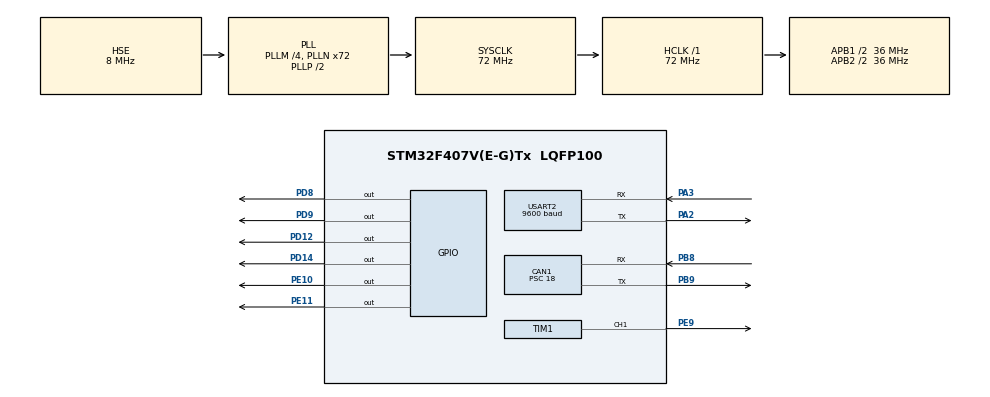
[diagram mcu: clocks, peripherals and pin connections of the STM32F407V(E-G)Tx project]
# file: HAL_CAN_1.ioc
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CAN1.BS1=CAN_BS1_2TQ
CAN1.CalculateBaudRate=500000
CAN1.CalculateTimeBit=2000
CAN1.CalculateTimeQuantum=500.0
CAN1.Prescaler=18
Mcu.Family=STM32F4
Mcu.Name=STM32F407V(E-G)Tx
Mcu.Package=LQFP100
NVIC.CAN1_RX0_IRQn=true\:0\:0\:false\:false\:true\:true\:true\:true
NVIC.PriorityGroup=NVIC_PRIORITYGROUP_0
PA2.Mode=Asynchronous
PA2.Signal=USART2_TX
PA3.Mode=Asynchronous
PA3.Signal=USART2_RX
PB8.Mode=CAN_Activate
PB8.Signal=CAN1_RX
PB9.Mode=CAN_Activate
PB9.Signal=CAN1_TX
PD12.Signal=GPIO_Output
PD14.Signal=GPIO_Output
PD8.Signal=GPIO_Output
PD9.Signal=GPIO_Output
PE10.Signal=GPIO_Output
PE11.Signal=GPIO_Output
PE9.Signal=S_TIM1_CH1
PH0-OSC_IN.Mode=HSE-External-Oscillator
PH0-OSC_IN.Signal=RCC_OSC_IN
PH1-OSC_OUT.Mode=HSE-External-Oscillator
PH1-OSC_OUT.Signal=RCC_OSC_OUT
ProjectManager.HeapSize=0x200
ProjectManager.StackSize=0x400
ProjectManager.TargetToolchain=STM32CubeIDE
RCC.48MHZClocksFreq_Value=20571428.57142857
RCC.AHBFreq_Value=72000000
RCC.APB1CLKDivider=RCC_HCLK_DIV2
RCC.APB1Freq_Value=36000000
RCC.APB1TimFreq_Value=72000000
RCC.APB2CLKDivider=RCC_HCLK_DIV2
RCC.APB2Freq_Value=36000000
RCC.APB2TimFreq_Value=72000000
RCC.CortexFreq_Value=72000000
RCC.HCLKFreq_Value=72000000
RCC.HSE_VALUE=8000000
RCC.HSI_VALUE=16000000
RCC.LSE_VALUE=32768
RCC.PLLM=4
RCC.PLLN=72
RCC.PLLQ=7
RCC.PLLSourceVirtual=RCC_PLLSOURCE_HSE
RCC.SYSCLKFreq_VALUE=72000000
RCC.SYSCLKSource=RCC_SYSCLKSOURCE_PLLCLK
RCC.VCOOutputFreq_Value=144000000
SH.S_TIM1_CH1.0=TIM1_CH1,PWM Generation1 CH1
TIM1.AutoReloadPreload=TIM_AUTORELOAD_PRELOAD_ENABLE
TIM1.Channel-PWM\ Generation1\ CH1=TIM_CHANNEL_1
TIM1.Period=100-1
TIM1.Prescaler=16-1
USART2.BaudRate=9600
USART2.VirtualMode=VM_ASYNC
board=STM32F407G-DISC1

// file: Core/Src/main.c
/* USER CODE BEGIN Header */
/**
  ******************************************************************************
  * @file           : main.c
  * @brief          : Main program body
  ******************************************************************************
  * @attention
  *
  * Copyright (c) 2024 STMicroelectronics.
  * All rights reserved.
  *
  * This software is licensed under terms that can be found in the LICENSE file
  * in the root directory of this software component.
  * If no LICENSE file comes with this software, it is provided AS-IS.
  *
  ******************************************************************************
  */
/* USER CODE END Header */
#include "main.h"

/* USER CODE BEGIN Includes */
#include<stdio.h>
#include<string.h>
/* USER CODE END Includes */

/* USER CODE BEGIN PD */
#define FORWARD 1
#define BACKWARD 0
#define MIN_DIST 5
#define MAX_DIST 100
#define MIN_SPEED 70
#define MAX_SPEED 100
/* USER CODE END PD */

CAN_HandleTypeDef hcan1;

TIM_HandleTypeDef htim1;

UART_HandleTypeDef huart2;

void SystemClock_Config(void);
static void MX_GPIO_Init(void);
static void MX_CAN1_Init(void);
static void MX_TIM1_Init(void);
static void MX_USART2_UART_Init(void);
/* USER CODE BEGIN PFP */
void MotorStart(void);
void MotorStop(void);
//void SetMotorSpeed(uint16_t distance);
/* USER CODE END PFP */

/* USER CODE BEGIN 0 */
CAN_RxHeaderTypeDef RxHeader;
uint8_t RxData[8];
uint8_t is_data_received;
uint16_t distance;
uint16_t speed;

void HAL_CAN_RxFifo0MsgPendingCallback(CAN_HandleTypeDef *hcan)
{
	if(HAL_CAN_GetRxMessage(hcan, CAN_RX_FIFO0, &RxHeader, RxData) == HAL_OK)
	{
		// process the message
        if (RxHeader.DLC == 5) {
        	is_data_received = 1;
        }
	}
}

void MotorStart(void)
{
		HAL_GPIO_WritePin(GPIOE, GPIO_PIN_10, GPIO_PIN_SET);
		HAL_GPIO_WritePin(GPIOE, GPIO_PIN_11, GPIO_PIN_RESET);
}

void MotorStop(void)
{
	HAL_GPIO_WritePin(GPIOE, GPIO_PIN_10, GPIO_PIN_RESET);
	HAL_GPIO_WritePin(GPIOE, GPIO_PIN_11, GPIO_PIN_RESET);
}

/* USER CODE END 0 */

int main(void)
{

  /* USER CODE BEGIN 1 */
	 char str[64];
	 char *str2 = "      >>>>>>>>>>>>>>>>>>>>>>>>>THIS IS COVAS<<<<<<<<<<<<<<<<<<<<<<<<<\r\n";
  /* USER CODE END 1 */

  /* MCU Configuration--------------------------------------------------------*/

  /* Reset of all peripherals, Initializes the Flash interface and the Systick. */
  HAL_Init();

  /* Configure the system clock */
  SystemClock_Config();

  /* Initialize all configured peripherals */
  MX_GPIO_Init();
  MX_CAN1_Init();
  MX_TIM1_Init();
  MX_USART2_UART_Init();
  /* USER CODE BEGIN 2 */
  HAL_CAN_Start(&hcan1);
  HAL_CAN_ActivateNotification(&hcan1, CAN_IT_RX_FIFO0_MSG_PENDING);
  HAL_TIM_PWM_Start(&htim1, TIM_CHANNEL_1);
  HAL_UART_Transmit(&huart2, (uint8_t *)str2, strlen(str2), HAL_MAX_DELAY);
  /* USER CODE END 2 */

  /* Infinite loop */
  while (1)
  {

    /* USER CODE BEGIN 3 */
	 if(is_data_received == 1)
	 {
		 strcpy(str,"---------------------------------------------------------- \r\n");
		 HAL_UART_Transmit(&huart2, (uint8_t *)str, strlen(str), HAL_MAX_DELAY);
		 HAL_GPIO_WritePin(GPIOD, GPIO_PIN_14, GPIO_PIN_RESET);
          HAL_GPIO_WritePin(GPIOD, GPIO_PIN_12, GPIO_PIN_SET);
          distance = (uint16_t)RxData[0] << 8 | (uint16_t)RxData[1];
          uint16_t tempreture = (uint16_t)RxData[3] << 8 | (uint16_t)RxData[4];
          uint8_t Rain =RxData[2];
          sprintf(str, " Distance : %d cm \r \n", distance);
      	  HAL_UART_Transmit(&huart2, (uint8_t *)str, strlen(str), HAL_MAX_DELAY);

      	  sprintf(str, " Temperature : %d degree \r \n", tempreture);
      	  HAL_UART_Transmit(&huart2, (uint8_t *)str, strlen(str), HAL_MAX_DELAY);

      	  if(Rain!=1)
      	  {
      		  strcpy(str,"RAIN detected \r\n");
      		 HAL_UART_Transmit(&huart2, (uint8_t *)str, strlen(str), HAL_MAX_DELAY);
      		 HAL_GPIO_WritePin(GPIOD, GPIO_PIN_8, SET);

      	  }
      	  else
      	  {
      		  strcpy(str,"No RAIN detected\r\n");
      		 HAL_UART_Transmit(&huart2, (uint8_t *)str, strlen(str), HAL_MAX_DELAY);
      		 HAL_GPIO_WritePin(GPIOD, GPIO_PIN_8, RESET);
      	  }

      	  if(tempreture <10  || tempreture >40)
      	  {
      		 HAL_GPIO_WritePin(GPIOD, GPIO_PIN_9, SET);
      	  }
      	  else
      	  {
      		 HAL_GPIO_WritePin(GPIOD, GPIO_PIN_9, RESET);
      	  }

          if(distance <20)
          {
        	  MotorStop();
          }
          else
          {
        	  MotorStart();
          }
          HAL_GPIO_WritePin(GPIOD, GPIO_PIN_12, GPIO_PIN_RESET);
          HAL_Delay(500);
	 }
	 is_data_received = 0;
  }
  /* USER CODE END 3 */
}

void SystemClock_Config(void)
{
  RCC_OscInitTypeDef RCC_OscInitStruct = {0};
  RCC_ClkInitTypeDef RCC_ClkInitStruct = {0};

  /** Configure the main internal regulator output voltage
  */
  __HAL_RCC_PWR_CLK_ENABLE();
  __HAL_PWR_VOLTAGESCALING_CONFIG(PWR_REGULATOR_VOLTAGE_SCALE1);

  /** Initializes the RCC Oscillators according to the specified parameters
  * in the RCC_OscInitTypeDef structure.
  */
  RCC_OscInitStruct.OscillatorType = RCC_OSCILLATORTYPE_HSE;
  RCC_OscInitStruct.HSEState = RCC_HSE_ON;
  RCC_OscInitStruct.PLL.PLLState = RCC_PLL_ON;
  RCC_OscInitStruct.PLL.PLLSource = RCC_PLLSOURCE_HSE;
  RCC_OscInitStruct.PLL.PLLM = 4;
  RCC_OscInitStruct.PLL.PLLN = 72;
  RCC_OscInitStruct.PLL.PLLP = RCC_PLLP_DIV2;
  RCC_OscInitStruct.PLL.PLLQ = 7;
  if (HAL_RCC_OscConfig(&RCC_OscInitStruct) != HAL_OK)
  {
    Error_Handler();
  }

  /** Initializes the CPU, AHB and APB buses clocks
  */
  RCC_ClkInitStruct.ClockType = RCC_CLOCKTYPE_HCLK|RCC_CLOCKTYPE_SYSCLK
                              |RCC_CLOCKTYPE_PCLK1|RCC_CLOCKTYPE_PCLK2;
  RCC_ClkInitStruct.SYSCLKSource = RCC_SYSCLKSOURCE_PLLCLK;
  RCC_ClkInitStruct.AHBCLKDivider = RCC_SYSCLK_DIV1;
  RCC_ClkInitStruct.APB1CLKDivider = RCC_HCLK_DIV2;
  RCC_ClkInitStruct.APB2CLKDivider = RCC_HCLK_DIV2;

  if (HAL_RCC_ClockConfig(&RCC_ClkInitStruct, FLASH_LATENCY_2) != HAL_OK)
  {
    Error_Handler();
  }
}

static void MX_CAN1_Init(void)
{

  hcan1.Instance = CAN1;
  hcan1.Init.Prescaler = 18;
  hcan1.Init.Mode = CAN_MODE_NORMAL;
  hcan1.Init.SyncJumpWidth = CAN_SJW_1TQ;
  hcan1.Init.TimeSeg1 = CAN_BS1_2TQ;
  hcan1.Init.TimeSeg2 = CAN_BS2_1TQ;
  hcan1.Init.TimeTriggeredMode = DISABLE;
  hcan1.Init.AutoBusOff = DISABLE;
  hcan1.Init.AutoWakeUp = DISABLE;
  hcan1.Init.AutoRetransmission = DISABLE;
  hcan1.Init.ReceiveFifoLocked = DISABLE;
  hcan1.Init.TransmitFifoPriority = DISABLE;
  if (HAL_CAN_Init(&hcan1) != HAL_OK)
  {
    Error_Handler();
  }
  /* USER CODE BEGIN CAN1_Init 2 */
  CAN_FilterTypeDef FilterConfig;
  //FilterConfig.SlaveStartFilterBank = 9; // CAN1-0 to 8, CAN2-9 to 27
  FilterConfig.FilterActivation = CAN_FILTER_ENABLE;
  FilterConfig.FilterBank = 0; // Use any Filter from 0 to 8
  FilterConfig.FilterScale = CAN_FILTERSCALE_32BIT; // Use a 32-bit filter
  FilterConfig.FilterMode = CAN_FILTERMODE_IDMASK;
  FilterConfig.FilterMaskIdHigh = 0xFF00;
  FilterConfig.FilterMaskIdLow = 0x0000;
  FilterConfig.FilterIdHigh = 0x1500;
  FilterConfig.FilterIdLow = 0x0000;
  FilterConfig.FilterFIFOAssignment = CAN_RX_FIFO0;

  if(HAL_CAN_ConfigFilter(&hcan1, &FilterConfig) != HAL_OK)
	  Error_Handler();
  /* USER CODE END CAN1_Init 2 */

}

static void MX_TIM1_Init(void)
{

  TIM_MasterConfigTypeDef sMasterConfig = {0};
  TIM_OC_InitTypeDef sConfigOC = {0};
  TIM_BreakDeadTimeConfigTypeDef sBreakDeadTimeConfig = {0};

  htim1.Instance = TIM1;
  htim1.Init.Prescaler = 16-1;
  htim1.Init.CounterMode = TIM_COUNTERMODE_UP;
  htim1.Init.Period = 100-1;
  htim1.Init.ClockDivision = TIM_CLOCKDIVISION_DIV1;
  htim1.Init.RepetitionCounter = 0;
  htim1.Init.AutoReloadPreload = TIM_AUTORELOAD_PRELOAD_ENABLE;
  if (HAL_TIM_PWM_Init(&htim1) != HAL_OK)
  {
    Error_Handler();
  }
  sMasterConfig.MasterOutputTrigger = TIM_TRGO_RESET;
  sMasterConfig.MasterSlaveMode = TIM_MASTERSLAVEMODE_DISABLE;
  if (HAL_TIMEx_MasterConfigSynchronization(&htim1, &sMasterConfig) != HAL_OK)
  {
    Error_Handler();
  }
  sConfigOC.OCMode = TIM_OCMODE_PWM1;
  sConfigOC.Pulse = 0;
  sConfigOC.OCPolarity = TIM_OCPOLARITY_HIGH;
  sConfigOC.OCNPolarity = TIM_OCNPOLARITY_HIGH;
  sConfigOC.OCFastMode = TIM_OCFAST_DISABLE;
  sConfigOC.OCIdleState = TIM_OCIDLESTATE_RESET;
  sConfigOC.OCNIdleState = TIM_OCNIDLESTATE_RESET;
  if (HAL_TIM_PWM_ConfigChannel(&htim1, &sConfigOC, TIM_CHANNEL_1) != HAL_OK)
  {
    Error_Handler();
  }
  sBreakDeadTimeConfig.OffStateRunMode = TIM_OSSR_DISABLE;
  sBreakDeadTimeConfig.OffStateIDLEMode = TIM_OSSI_DISABLE;
  sBreakDeadTimeConfig.LockLevel = TIM_LOCKLEVEL_OFF;
  sBreakDeadTimeConfig.DeadTime = 0;
  sBreakDeadTimeConfig.BreakState = TIM_BREAK_DISABLE;
  sBreakDeadTimeConfig.BreakPolarity = TIM_BREAKPOLARITY_HIGH;
  sBreakDeadTimeConfig.AutomaticOutput = TIM_AUTOMATICOUTPUT_DISABLE;
  if (HAL_TIMEx_ConfigBreakDeadTime(&htim1, &sBreakDeadTimeConfig) != HAL_OK)
  {
    Error_Handler();
  }
  HAL_TIM_MspPostInit(&htim1);

}

static void MX_USART2_UART_Init(void)
{

  huart2.Instance = USART2;
  huart2.Init.BaudRate = 9600;
  huart2.Init.WordLength = UART_WORDLENGTH_8B;
  huart2.Init.StopBits = UART_STOPBITS_1;
  huart2.Init.Parity = UART_PARITY_NONE;
  huart2.Init.Mode = UART_MODE_TX_RX;
  huart2.Init.HwFlowCtl = UART_HWCONTROL_NONE;
  huart2.Init.OverSampling = UART_OVERSAMPLING_16;
  if (HAL_UART_Init(&huart2) != HAL_OK)
  {
    Error_Handler();
  }

}

static void MX_GPIO_Init(void)
{
  GPIO_InitTypeDef GPIO_InitStruct = {0};

  /* GPIO Ports Clock Enable */
  __HAL_RCC_GPIOH_CLK_ENABLE();
  __HAL_RCC_GPIOA_CLK_ENABLE();
  __HAL_RCC_GPIOE_CLK_ENABLE();
  __HAL_RCC_GPIOD_CLK_ENABLE();
  __HAL_RCC_GPIOB_CLK_ENABLE();

  /*Configure GPIO pin Output Level */
  HAL_GPIO_WritePin(GPIOE, GPIO_PIN_10|GPIO_PIN_11, GPIO_PIN_RESET);

  /*Configure GPIO pin Output Level */
  HAL_GPIO_WritePin(GPIOD, GPIO_PIN_8|GPIO_PIN_9|GPIO_PIN_12|GPIO_PIN_14, GPIO_PIN_RESET);

  /*Configure GPIO pins : PE10 PE11 */
  GPIO_InitStruct.Pin = GPIO_PIN_10|GPIO_PIN_11;
  GPIO_InitStruct.Mode = GPIO_MODE_OUTPUT_PP;
  GPIO_InitStruct.Pull = GPIO_NOPULL;
  GPIO_InitStruct.Speed = GPIO_SPEED_FREQ_LOW;
  HAL_GPIO_Init(GPIOE, &GPIO_InitStruct);

  /*Configure GPIO pins : PD8 PD9 PD12 PD14 */
  GPIO_InitStruct.Pin = GPIO_PIN_8|GPIO_PIN_9|GPIO_PIN_12|GPIO_PIN_14;
  GPIO_InitStruct.Mode = GPIO_MODE_OUTPUT_PP;
  GPIO_InitStruct.Pull = GPIO_NOPULL;
  GPIO_InitStruct.Speed = GPIO_SPEED_FREQ_LOW;
  HAL_GPIO_Init(GPIOD, &GPIO_InitStruct);

}

void Error_Handler(void)
{
  __disable_irq();
  while (1)
  {
  }
}
